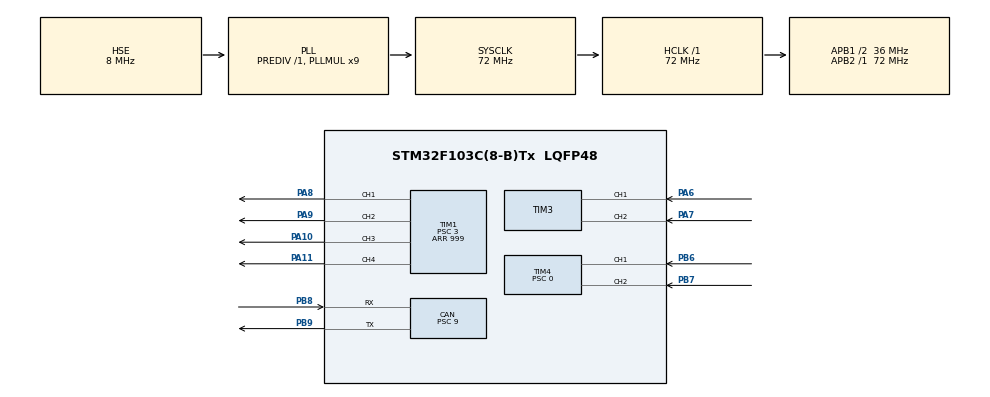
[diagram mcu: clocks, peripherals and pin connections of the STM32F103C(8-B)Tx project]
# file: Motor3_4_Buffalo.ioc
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CAN.BS1=CAN_BS1_2TQ
CAN.CalculateBaudRate=1000000
CAN.CalculateTimeBit=1000
CAN.CalculateTimeQuantum=250.0
CAN.Prescaler=9
Mcu.Family=STM32F1
Mcu.Name=STM32F103C(8-B)Tx
Mcu.Package=LQFP48
NVIC.CAN1_RX1_IRQn=true\:0\:0\:false\:false\:true\:true\:true\:true
NVIC.PriorityGroup=NVIC_PRIORITYGROUP_4
NVIC.TIM2_IRQn=true\:0\:0\:false\:false\:true\:true\:true\:true
PA10.Signal=S_TIM1_CH3
PA11.Signal=S_TIM1_CH4
PA13.Mode=Serial_Wire
PA13.Signal=SYS_JTMS-SWDIO
PA14.Mode=Serial_Wire
PA14.Signal=SYS_JTCK-SWCLK
PA6.Signal=S_TIM3_CH1
PA7.Signal=S_TIM3_CH2
PA8.Signal=S_TIM1_CH1
PA9.Signal=S_TIM1_CH2
PB6.Signal=S_TIM4_CH1
PB7.Signal=S_TIM4_CH2
PB8.Mode=CAN_Activate
PB8.Signal=CAN_RX
PB9.Mode=CAN_Activate
PB9.Signal=CAN_TX
PD0-OSC_IN.Mode=HSE-External-Oscillator
PD0-OSC_IN.Signal=RCC_OSC_IN
PD1-OSC_OUT.Mode=HSE-External-Oscillator
PD1-OSC_OUT.Signal=RCC_OSC_OUT
ProjectManager.HeapSize=0x200
ProjectManager.StackSize=0x400
ProjectManager.TargetToolchain=STM32CubeIDE
RCC.AHBFreq_Value=72000000
RCC.APB1CLKDivider=RCC_HCLK_DIV2
RCC.APB1Freq_Value=36000000
RCC.APB1TimFreq_Value=72000000
RCC.APB2Freq_Value=72000000
RCC.APB2TimFreq_Value=72000000
RCC.HCLKFreq_Value=72000000
RCC.PLLMUL=RCC_PLL_MUL9
RCC.PLLSourceVirtual=RCC_PLLSOURCE_HSE
RCC.SYSCLKFreq_VALUE=72000000
RCC.SYSCLKSource=RCC_SYSCLKSOURCE_PLLCLK
RCC.USBFreq_Value=72000000
SH.S_TIM1_CH1.0=TIM1_CH1,PWM Generation1 CH1
SH.S_TIM1_CH2.0=TIM1_CH2,PWM Generation2 CH2
SH.S_TIM1_CH3.0=TIM1_CH3,PWM Generation3 CH3
SH.S_TIM1_CH4.0=TIM1_CH4,PWM Generation4 CH4
SH.S_TIM3_CH1.0=TIM3_CH1,Encoder_Interface
SH.S_TIM3_CH2.0=TIM3_CH2,Encoder_Interface
SH.S_TIM4_CH1.0=TIM4_CH1,Encoder_Interface
SH.S_TIM4_CH2.0=TIM4_CH2,Encoder_Interface
TIM1.AutoReloadPreload=TIM_AUTORELOAD_PRELOAD_ENABLE
TIM1.Channel-PWM\ Generation1\ CH1=TIM_CHANNEL_1
TIM1.Channel-PWM\ Generation2\ CH2=TIM_CHANNEL_2
TIM1.Channel-PWM\ Generation3\ CH3=TIM_CHANNEL_3
TIM1.Channel-PWM\ Generation4\ CH4=TIM_CHANNEL_4
TIM1.Period=999
TIM1.Prescaler=3
TIM2.AutoReloadPreload=TIM_AUTORELOAD_PRELOAD_ENABLE
TIM2.Period=9999
TIM2.Prescaler=71
TIM3.AutoReloadPreload=TIM_AUTORELOAD_PRELOAD_ENABLE
TIM3.EncoderMode=TIM_ENCODERMODE_TI12
TIM4.AutoReloadPreload=TIM_AUTORELOAD_PRELOAD_ENABLE
TIM4.EncoderMode=TIM_ENCODERMODE_TI12
TIM4.Period=65535
TIM4.Prescaler=0
VP_TIM2_VS_ClockSourceINT.Mode=Internal
board=custom

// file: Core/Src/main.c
/* USER CODE BEGIN Header */
/**
  ******************************************************************************
  * @file           : main.c
  * @brief          : Main program body
  ******************************************************************************
  * @attention
  *
  * Copyright (c) 2024 STMicroelectronics.
  * All rights reserved.
  *
  * This software is licensed under terms that can be found in the LICENSE file
  * in the root directory of this software component.
  * If no LICENSE file comes with this software, it is provided AS-IS.
  *
  ******************************************************************************
  */
/* USER CODE END Header */
#include "main.h"
#include "can.h"
#include "tim.h"
#include "gpio.h"

/* USER CODE BEGIN Includes */
#include "PID.h"
#include "math.h"
/* USER CODE END Includes */

/* USER CODE BEGIN PTD */
CAN_TxHeaderTypeDef TxHeader;
CAN_RxHeaderTypeDef RxHeader;
PIDController MPID;

/* USER CODE END PTD */

/* USER CODE BEGIN PD */
#define R 0.05 //m
#define lx 0.45/2  //m
#define ly 0.45/2 //m
#define CPR 911
#define Sample_time 10 // ms
#define pi 3.14
//#define kp 7.92
//#define ki 136.48
#define kp 1.92
#define ki 169.6
#define kd 0
#define Motor3 0
#define Motor4 1
/* USER CODE END PD */

/* USER CODE BEGIN PV */
uint16_t count[4]; // count pulse from encoder
uint16_t new_count[4];
uint8_t count_state[4];
uint16_t diff[4]; // difference between count and new_count in a sample time
uint16_t V1_out = 0;
uint16_t V2_out = 0;
uint16_t V3_out = 0;
uint16_t V4_out = 0;
uint16_t v1_out = 0;
uint16_t v2_out = 0;
uint16_t v3_out = 0;
uint16_t v4_out = 0;
float speedM[4];
float rdps[4];

float Motor1_speed = 0;
float Motor2_speed = 0;
float Motor3_speed = 0;
float Motor4_speed ;
float V1; // target speed of motor1
float V2; // target speed of motor2
float V3; // target speed of motor3
float V4; // target speed of motor4
float v1; // target speed of motor1
float v2; // target speed of motor2
float v3; // target speed of motor3
float v4; // target speed of motor4

float pwm_M1 = 0;
float pwm_M2 = 0;
float pwm_M3 = 0;
float pwm_M4 = 0;

uint8_t RxData[8];
uint8_t TxData[4];
uint32_t TxMailbox;
uint16_t ReadValue;
int flag = 0;
uint8_t cntt;
float RxData1 = 0;
float RxData2 = 0;
float RxData3 = 0;
float RxData4 = 0;
uint16_t dt;
float V;
float v;
float Vx;
float Vy;
float Omega;
uint8_t speed;
float theta = 0;
/* USER CODE END PV */

void SystemClock_Config(void);
/* USER CODE BEGIN PFP */
float Motors_RPS( int j,float SampleTime, float N_round)
{

	new_count[Motor3] = TIM3->CNT;
	new_count[Motor4] = TIM4->CNT;

	count_state[Motor3] = __HAL_TIM_IS_TIM_COUNTING_DOWN(&htim3);
	count_state[Motor4] = __HAL_TIM_IS_TIM_COUNTING_DOWN(&htim4);
	if (count_state[j])
	{
		if (new_count[j] <= count[j])
		{ // Check for counter underflow
			diff[j] = count[j] - new_count[j];
		}
		else
		{
			diff[j] = (65536 - new_count[j]) + count[j];
		}
		speedM[j] = (float)diff[j] * 1000.0f / (N_round * SampleTime)*-1;
	}
	else
	{
		if (new_count[j] >= count[j])
		{ // Check for counter overflow
			diff[j] = new_count[j] - count[j];
		}
		else
		{
			diff[j] = (65536 - count[j]) + new_count[j];
		}
		speedM[j] = (float)diff[j] * 1000.0f / (N_round * SampleTime);
	}

	rdps[j] = -2.0f * pi * speedM[j];
	count[j] = new_count[j];

	return rdps[j];
}
float map(float Input, float Min_Input, float Max_Input, float Min_Output,
		float Max_Output) {

	return (float) ((Input - Min_Input) * (Max_Output - Min_Output)
			/ (Max_Input - Min_Input) + Min_Output);
}
void HAL_CAN_RxFifo1MsgPendingCallback(CAN_HandleTypeDef *hcan) {
	HAL_CAN_GetRxMessage(hcan, CAN_RX_FIFO1,     &RxHeader, RxData);
		cntt++;
		while (cntt - 100 > 0) {
			//HAL_GPIO_TogglePin(GPIOC, GPIO_PIN_13);
			cntt = 0;
		}

	if (RxHeader.StdId == 0x103) {
		RxData1 = (RxData[0] << 8) | RxData[1];
		RxData2 = (RxData[2] << 8) | RxData[3];
		RxData3 = (RxData[4] << 8) | RxData[5];
		RxData4 = (RxData[6] << 8) | RxData[7];

		V1 = map(RxData1, 0, 65535, -60.0, 60.0);
		V2 = map(RxData2, 0, 65535, -60.0, 60.0);
		V3 = map(RxData3, 0, 65535, -60.0, 60.0);
		V4 = map(RxData4, 0, 65535, -60.0, 60.0);
		flag = 1;
	}
}
/* USER CODE END PFP */

int main(void)
{
  /* USER CODE BEGIN 1 */
	PID_Init(&MPID, 2);
	MPID.T = 0.01; // T = 10ms
	MPID.limMax = 1000;
	MPID.limMin = -1000;
	MPID.limMaxInt = 1000;
	MPID.limMinInt = -1000;
	MPID.tau = 0; // for Kd
  /* USER CODE END 1 */

  /* MCU Configuration--------------------------------------------------------*/

  /* Reset of all peripherals, Initializes the Flash interface and the Systick. */
  HAL_Init();

  /* Configure the system clock */
  SystemClock_Config();

  /* Initialize all configured peripherals */
  MX_GPIO_Init();
  MX_CAN_Init();
  MX_TIM1_Init();
  MX_TIM2_Init();
  MX_TIM3_Init();
  MX_TIM4_Init();
  /* USER CODE BEGIN 2 */
  // TIMER Internal Clock
	HAL_TIM_Base_Start_IT(&htim2);

	// TIMER PWM Generation
	HAL_TIM_PWM_Start(&htim1, TIM_CHANNEL_1);
	HAL_TIM_PWM_Start(&htim1, TIM_CHANNEL_2);
	HAL_TIM_PWM_Start(&htim1, TIM_CHANNEL_3);
	HAL_TIM_PWM_Start(&htim1, TIM_CHANNEL_4);

	// TIMER Encoder Mode
	HAL_TIM_Encoder_Start(&htim4, TIM_CHANNEL_ALL);
	HAL_TIM_Encoder_Start(&htim3, TIM_CHANNEL_ALL);
	HAL_CAN_Start(&hcan);

	HAL_CAN_ActivateNotification(&hcan, CAN_IT_RX_FIFO1_MSG_PENDING);
	TxHeader.DLC = 4;
	TxHeader.IDE = CAN_ID_STD;
	TxHeader.RTR = CAN_RTR_DATA;
	TxHeader.StdId = 0x211; //Slave2
  /* USER CODE END 2 */

  /* Infinite loop */
  while (1)
  {

  }
}

void SystemClock_Config(void)
{
  RCC_OscInitTypeDef RCC_OscInitStruct = {0};
  RCC_ClkInitTypeDef RCC_ClkInitStruct = {0};

  /** Initializes the RCC Oscillators according to the specified parameters
  * in the RCC_OscInitTypeDef structure.
  */
  RCC_OscInitStruct.OscillatorType = RCC_OSCILLATORTYPE_HSE;
  RCC_OscInitStruct.HSEState = RCC_HSE_ON;
  RCC_OscInitStruct.HSEPredivValue = RCC_HSE_PREDIV_DIV1;
  RCC_OscInitStruct.HSIState = RCC_HSI_ON;
  RCC_OscInitStruct.PLL.PLLState = RCC_PLL_ON;
  RCC_OscInitStruct.PLL.PLLSource = RCC_PLLSOURCE_HSE;
  RCC_OscInitStruct.PLL.PLLMUL = RCC_PLL_MUL9;
  if (HAL_RCC_OscConfig(&RCC_OscInitStruct) != HAL_OK)
  {
    Error_Handler();
  }

  /** Initializes the CPU, AHB and APB buses clocks
  */
  RCC_ClkInitStruct.ClockType = RCC_CLOCKTYPE_HCLK|RCC_CLOCKTYPE_SYSCLK
                              |RCC_CLOCKTYPE_PCLK1|RCC_CLOCKTYPE_PCLK2;
  RCC_ClkInitStruct.SYSCLKSource = RCC_SYSCLKSOURCE_PLLCLK;
  RCC_ClkInitStruct.AHBCLKDivider = RCC_SYSCLK_DIV1;
  RCC_ClkInitStruct.APB1CLKDivider = RCC_HCLK_DIV2;
  RCC_ClkInitStruct.APB2CLKDivider = RCC_HCLK_DIV1;

  if (HAL_RCC_ClockConfig(&RCC_ClkInitStruct, FLASH_LATENCY_2) != HAL_OK)
  {
    Error_Handler();
  }
}

/* USER CODE BEGIN 4 */
void HAL_TIM_PeriodElapsedCallback(TIM_HandleTypeDef *htim) {
	if (htim->Instance == TIM2) {

		//Inverskinematic of Mecanum
//		v1 = ((1 / R) * (Vx - Vy - (Vz * (lx + ly)))) ;
//		v2 = ((1 / R) * (Vx + Vy + (Vz * (lx + ly)))) ;
//		v3 = ((1 / R) * (Vx + Vy - (Vz * (lx + ly)))) ;
//		v4 = ((1 / R) * (Vx - Vy + (Vz * (lx + ly)))) ;

		//Inverskinematic of Mecanum
//		V1 = ((1.0 / R) * (-Vx + Vy + (Omega * (lx + ly)))) ;
//		V2 = ((1.0 / R) * (-Vx - Vy + (Omega * (lx + ly)))) ;
//		V3 = ((1.0 / R) * ( Vx - Vy + (Omega * (lx + ly)))) ;
//		V4 = ((1.0 / R) * ( Vx + Vy + (Omega * (lx + ly)))) ;

		// Motor measurement speed
		Motor3_speed = Motors_RPS(Motor3, Sample_time, CPR); // sample time 10ms
		Motor4_speed = Motors_RPS(Motor4, Sample_time, CPR); // sample time 10ms

//		// PWM PID of Motor
		pwm_M3 = PID(&MPID, V3, Motor3_speed, kp, ki, kd, Motor3);
		pwm_M4 = PID(&MPID, V4, Motor4_speed, kp, ki, kd, Motor4);

		// Control Motor
		if (pwm_M4 > 20) {
			TIM1->CCR4 = pwm_M4;
			TIM1->CCR3 = 0;
		}
		else if (pwm_M4 < -20) {
			TIM1->CCR4 = 0;
			TIM1->CCR3 = -1*pwm_M4;
		}
		else
		{
			TIM1->CCR4 = 0;
			TIM1->CCR3 = 0;
		}
		if (pwm_M3 > 20) {
			TIM1->CCR1 = 0;
			TIM1->CCR2 = pwm_M3;
		}
		else if (pwm_M3 < -20) {
			TIM1->CCR2 = 0;
			TIM1->CCR1 = -1*pwm_M3;
		} else
		{
			TIM1->CCR2 = 0;
			TIM1->CCR1 = 0;
		}

		V3_out = map(Motor3_speed, -60, 60, 0, 65535);
		V4_out = map(Motor4_speed, -60, 60, 0, 65535);
//		//
		TxData[0] = ((V3_out & 0xFF00) >> 8);
		TxData[1] = (V3_out & 0x00FF);
		TxData[2] = ((V4_out & 0xFF00) >> 8);
		TxData[3] = (V4_out & 0x00FF);

		if (flag == 1)
		{
			HAL_CAN_AddTxMessage(&hcan, &TxHeader, TxData, &TxMailbox);
			flag = 0;
		}
	}
}
/* USER CODE END 4 */

void Error_Handler(void)
{
  __disable_irq();
  while (1)
  {
  }
}
